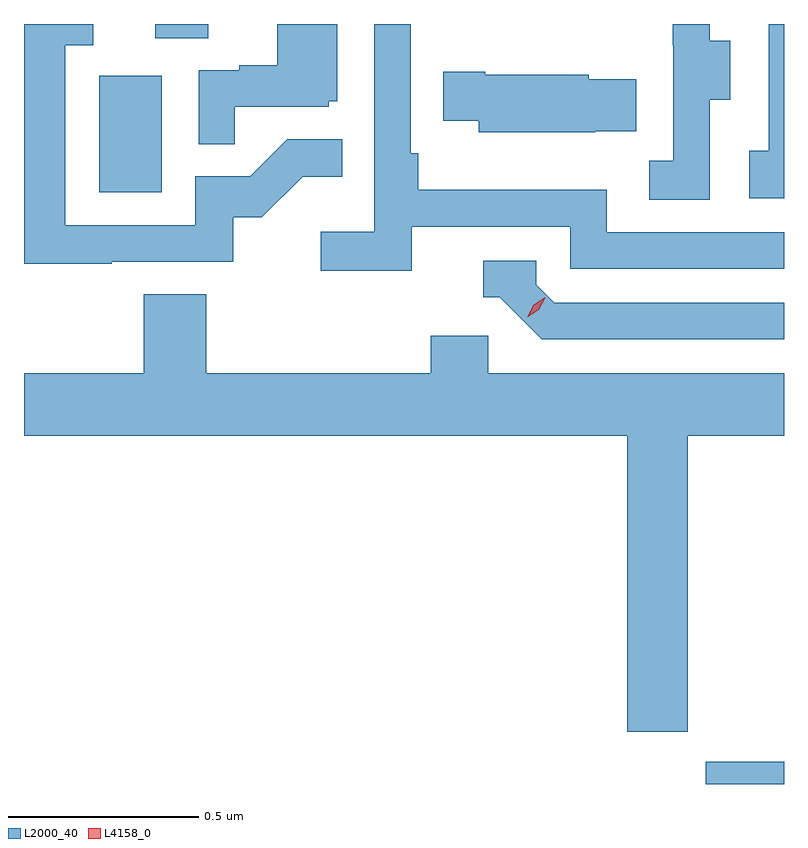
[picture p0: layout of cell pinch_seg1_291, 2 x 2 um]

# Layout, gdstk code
import gdstk
lib = gdstk.Library(unit=1e-6, precision=1e-09)
def R(c, l, rs):  # rectangles x0, y0, x1, y1
    for r in rs: c.add(gdstk.rectangle(r[:2], r[2:], *l))
def P(c, l, *ps):  # polygons
    for p in ps: c.add(gdstk.Polygon(p, *l))
L2000_40 = (2000, 40)
L4158_0 = (4158, 0)

pinch_seg1_291 = lib.new_cell('pinch_seg1_291')
R(pinch_seg1_291, L2000_40, [(913.724,545.487,913.93,545.545), (912.128,547.044,912.292,547.351), (912.275,547.45,912.415,547.487)])
P(pinch_seg1_291, L2000_40, [(912.485,547.269),(912.732,547.269),(912.732,547.284),(912.754,547.284),(912.754,547.487),(912.596,547.487),(912.596,547.378),(912.497,547.378),(912.497,547.365),(912.39,547.365),(912.39,547.171),(912.485,547.171)],
  [(912.95,546.954),(913.368,546.954),(913.368,546.843),(913.93,546.843),(913.93,546.939),(913.464,546.939),(913.464,547.051),(912.968,547.051),(912.968,547.147),(912.948,547.147),(912.948,547.487),(912.852,547.487),(912.852,546.94),(912.711,546.94),(912.711,546.838),(912.95,546.838)],
  [(912.161,546.861),(912.48,546.861),(912.48,546.978),(912.556,546.978),(912.663,547.085),(912.767,547.085),(912.767,547.184),(912.623,547.184),(912.525,547.086),(912.381,547.086),(912.381,546.957),(912.039,546.957),(912.039,547.431),(912.112,547.431),(912.112,547.487),(911.93,547.487),(911.93,547.064),(911.931,547.064),(911.931,546.856),(912.161,546.856)],
  [(913.93,547.487),(913.89,547.487),(913.89,547.154),(913.839,547.154),(913.839,547.029),(913.93,547.029)],
  [(913.734,547.288),(913.789,547.288),(913.789,547.443),(913.735,547.443),(913.735,547.487),(913.637,547.487),(913.637,547.431),(913.638,547.431),(913.638,547.127),(913.575,547.127),(913.575,547.024),(913.734,547.024)],
  [(913.433,547.205),(913.541,547.205),(913.541,547.342),(913.416,547.342),(913.416,547.354),(913.144,547.354),(913.144,547.362),(913.033,547.362),(913.033,547.232),(913.127,547.232),(913.127,547.202),(913.433,547.202)],
  [(913.93,546.753),(913.326,546.753),(913.278,546.801),(913.278,546.864),(913.139,546.864),(913.139,546.768),(913.182,546.768),(913.293,546.657),(913.93,546.657)],
  [(913.677,546.404),(913.93,546.404),(913.93,546.568),(913.152,546.568),(913.152,546.666),(913.001,546.666),(913.001,546.568),(912.41,546.568),(912.41,546.776),(912.245,546.776),(912.245,546.568),(911.93,546.568),(911.93,546.404),(913.517,546.404),(913.517,545.625),(913.677,545.625)])
P(pinch_seg1_291, L4158_0, [(913.254,546.715),(913.254,546.715),(913.271,546.748),(913.302,546.768),(913.302,546.768),(913.302,546.767),(913.285,546.735),(913.254,546.715)])

lib.write_gds('pinch_seg1_291.gds')
